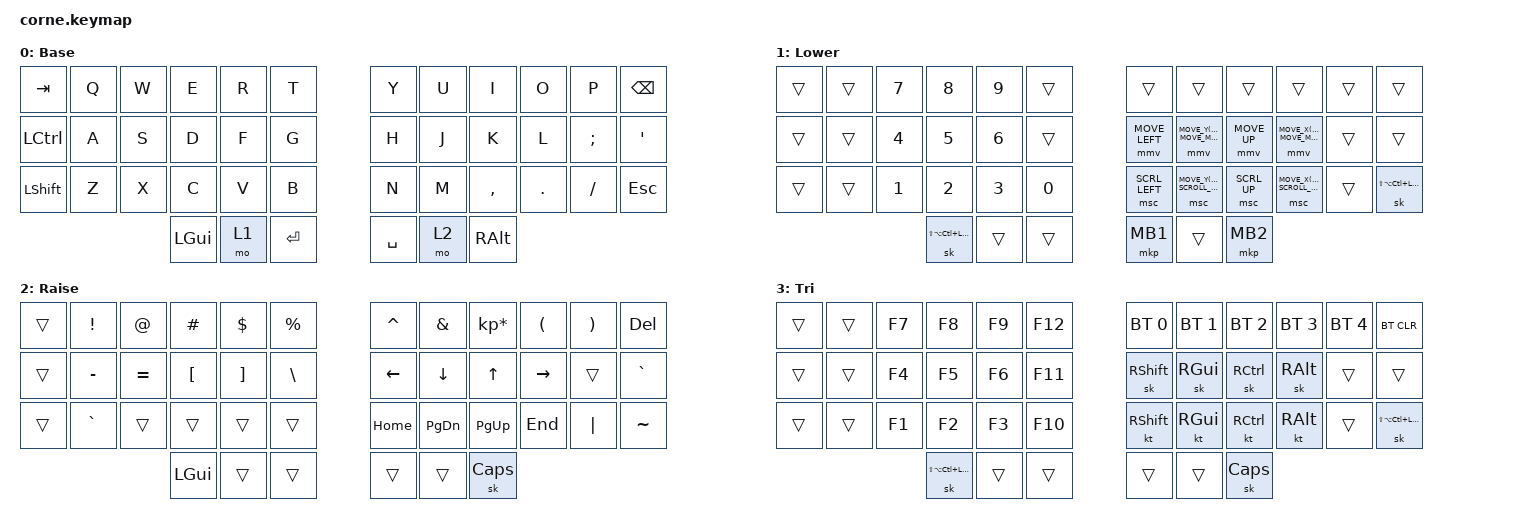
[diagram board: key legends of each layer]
/*
 * Copyright (c) 2020 The ZMK Contributors
 *
 * SPDX-License-Identifier: MIT
 */
// Mouse settings

#include <behaviors/mouse_keys.dtsi>
#include <behaviors.dtsi>
#include <dt-bindings/zmk/bt.h>
#include <dt-bindings/zmk/keys.h>
#include <dt-bindings/zmk/keys.h>
#include <dt-bindings/zmk/mouse.h>

// Mouse movements

#define U_MOUSE_MOVE_MAX 12000

#undef MOVE_UP
#undef MOVE_DOWN
#undef MOVE_LEFT
#undef MOVE_RIGHT

#define MOVE_UP MOVE_Y(-U_MOUSE_MOVE_MAX)
#define MOVE_DOWN MOVE_Y(U_MOUSE_MOVE_MAX)
#define MOVE_LEFT MOVE_X(-U_MOUSE_MOVE_MAX)
#define MOVE_RIGHT MOVE_X(U_MOUSE_MOVE_MAX)

&mmv {
    time-to-max-speed-ms = <1000>;             /* <--- How long time until max speed is reached (default: 500) */
};

// Scroll movements

#define U_MOUSE_SCROLL_MAX 100

#undef SCRL_UP
#undef SCRL_DOWN
#undef SCRL_LEFT
#undef SCRL_RIGHT

#define SCRL_UP MOVE_Y(-U_MOUSE_SCROLL_MAX)
#define SCRL_DOWN MOVE_Y(U_MOUSE_SCROLL_MAX)
#define SCRL_LEFT MOVE_X(-U_MOUSE_SCROLL_MAX)
#define SCRL_RIGHT MOVE_X(U_MOUSE_SCROLL_MAX)

&msc {
};

/ {
    macros {
        MAC_SNAP_LEFT: MAC_SNAP_LEFT {
            compatible = "zmk,behavior-macro";
            #binding-cells = <0>;
            bindings = <&kp LCTRL &kp CAPSLOCK &kp LEFT>;
            label = "MAC_SNAP_LEFT";
        };
    };

    keymap {
        compatible = "zmk,keymap";

        default_layer {
            // -----------------------------------------------------------------------------------------
            // |  TAB |  Q  |  W  |  E  |  R  |  T  |   |  Y  |  U   |  I  |  O  |  P  | BKSP |
            // | CTRL |  A  |  S  |  D  |  F  |  G  |   |  H  |  J   |  K  |  L  |  ;  |  '   |
            // | SHFT |  Z  |  X  |  C  |  V  |  B  |   |  N  |  M   |  ,  |  .  |  /  | ESC  |
            //                    | GUI | LWR | ENT |   | SPC | RSE  | ALT |

            display-name = "Base";
            bindings = <
&kp TAB    &kp Q  &kp W  &kp E     &kp R  &kp T      &kp Y      &kp U  &kp I      &kp O    &kp P     &kp BSPC
&kp LCTRL  &kp A  &kp S  &kp D     &kp F  &kp G      &kp H      &kp J  &kp K      &kp L    &kp SEMI  &kp SQT
&kp LSHFT  &kp Z  &kp X  &kp C     &kp V  &kp B      &kp N      &kp M  &kp COMMA  &kp DOT  &kp FSLH  &kp ESC
                         &kp LGUI  &mo 1  &kp RET    &kp SPACE  &mo 2  &kp RALT
            >;
        };

        lower_layer {
            // -----------------------------------------------------------------------------------------
            // |      |     |  7  |  8  |  9  |     |   |     |     |     |     |     |      |
            // |      |     |  4  |  5  |  6  |     |   |MLEFT|MDOWN| MUP |MRIGH|     |      |
            // |      |     |  1  |  2  |  3  |  0  |   |SCRLT|SCRDW|SCRUP|SCRRT|     | HYP  |
            //                    | HYP |     |     |   | MB1 |     | MB2 |

            display-name = "Lower";
            bindings = <
&trans  &trans  &kp N7  &kp N8                &kp N9  &trans    &trans          &trans          &trans        &trans           &trans  &trans
&trans  &trans  &kp N4  &kp N5                &kp N6  &trans    &mmv MOVE_LEFT  &mmv MOVE_DOWN  &mmv MOVE_UP  &mmv MOVE_RIGHT  &trans  &trans
&trans  &trans  &kp N1  &kp N2                &kp N3  &kp N0    &msc SCRL_LEFT  &msc SCRL_DOWN  &msc SCRL_UP  &msc SCRL_RIGHT  &trans  &sk LS(LA(LC(LGUI))) 
                        &sk LS(LA(LC(LGUI)))  &trans  &trans    &mkp MB1        &trans          &mkp MB2
            >;
        };

        raise_layer {
            // -----------------------------------------------------------------------------------------
            // |      |  !  |  @  |  #  |  $  |  %  |   |  ^  |  &  |  *  |  (  |  )  | DEL |
            // |      |  -  |  =  |  [  |  ]  |  \  |   | LFT | DWN |  UP | RGT |     |  `  |
            // |      |  `  |     |     |     |     |   | HOM | PGD | PGU | END | "|" |  ~  |
            //                    | GUI |     |     |   |     |     | CAP |

            display-name = "Raise";
            bindings = <
&trans  &kp EXCL   &kp AT     &kp HASH  &kp DLLR  &kp PRCNT    &kp CARET  &kp AMPS       &kp KP_MULTIPLY  &kp LPAR   &kp RPAR  &kp DELETE
&trans  &kp MINUS  &kp EQUAL  &kp LBKT  &kp RBKT  &kp BSLH     &kp LEFT   &kp DOWN       &kp UP           &kp RIGHT  &trans    &kp GRAVE
&trans  &kp GRAVE  &trans     &trans    &trans    &trans       &kp HOME   &kp PAGE_DOWN  &kp PAGE_UP      &kp END    &kp PIPE  &kp TILDE
                              &kp LGUI  &trans    &trans       &trans     &trans         &sk CAPSLOCK
            >;
        };

        tri_layer {
            // -----------------------------------------------------------------------------------------
            // |      |     | F07 | F08 | F09 | F12 |   | BT0 | BT1 | BT2 | BT3 | BT4 | BTCLR |
            // |      |     | F04 | F05 | F06 | F11 |   | SHF | GUI | CTR | ALT |     |       |
            // | CAPS |     | F01 | F02 | F03 | F10 |   |     | ZMI | ZMO |     |     | HYP   |
            //                    | HYP |     |     |   |     |     | CAP |  

            display-name = "Tri";
            bindings = <
&trans  &trans  &kp F7  &kp F8                &kp F9  &kp F12    &bt BT_SEL 0  &bt BT_SEL 1   &bt BT_SEL 2  &bt BT_SEL 3  &bt BT_SEL 4  &bt BT_CLR
&trans  &trans  &kp F4  &kp F5                &kp F6  &kp F11    &sk RSHFT     &sk RGUI       &sk RCTRL     &sk RALT      &trans        &trans
&trans  &trans  &kp F1  &kp F2                &kp F3  &kp F10    &kt RSHIFT    &kt RIGHT_GUI  &kt RCTRL     &kt RALT      &trans        &sk LS(LA(LC(LGUI))) 
                        &sk LS(LA(LC(LGUI)))  &trans  &trans     &trans        &trans         &sk CAPSLOCK
            >;

            label = "Tri";
        };
    };

    conditional_layers {
        compatible = "zmk,conditional-layers";

        conditional_layer {
            if-layers = <1 2>;
            then-layer = <3>;
        };
    };
};
